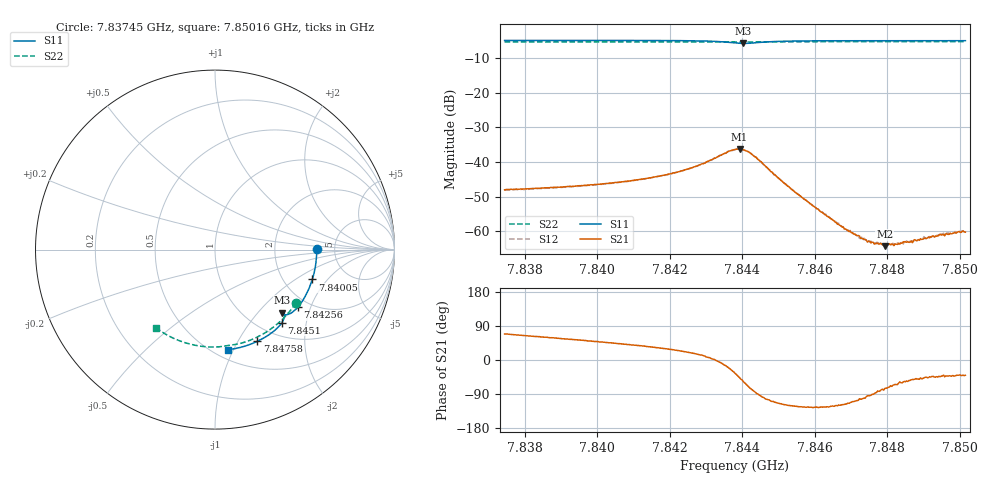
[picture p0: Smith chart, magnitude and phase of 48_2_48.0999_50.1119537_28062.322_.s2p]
#  HZ  S  RI  R  50.00
! Rohde & Schwarz Vector Network Analyzer
! Rohde-Schwarz,ZNB20-2Port,1311601062101988,3.16
! Created: UTC 12/23/2023, 3:39:28 AM
! freq[Hz]  re:S11  im:S11  re:S21  im:S21  re:S12  im:S12  re:S22  im:S22
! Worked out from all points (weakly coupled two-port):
!   401 points, 7.83745 GHz to 7.85016 GHz, reference 50 ohm
!   highest |S21| = -36.21 dB at 7.84393 GHz (marker M1); lowest = -64.3 dB at 7.84793 GHz (marker M2)
!   lowest |S11| = -5.8 dB at 7.84402 GHz (marker M3), VSWR 3.11, Z = 71.7 - j68.4 ohm
!   |S11| at or under -10 dB: nowhere
!   |S22| runs from -5.4 to -5.3 dB; largest |S21 - S12| = 0.00031
!   S11 on the Smith chart (normalised r, x): 7.83745 GHz: 3.61, +0.06; 7.84005 GHz: 2.86, -1.40; 7.84256 GHz: 1.74, -1.63; 7.8451 GHz: 1.24, -1.46; 7.84758 GHz: 0.81, -1.21; 7.85016 GHz: 0.58, -0.95
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7.837447e9  0.5666 0.00526  0.00145 0.00371  0.00146 0.00365  0.4507 -0.2971
7.839576e9  0.5507 -0.1357  0.00282 0.00362  0.00278 0.00358  0.353 -0.4094
7.840052e9  0.5419 -0.1665  0.00321 0.00354  0.00316 0.00353  0.3271 -0.4306
7.841704e9  0.4968 -0.2704  0.0053 0.00331  0.00528 0.00333  0.2283 -0.4909
7.842562e9  0.4608 -0.3213  0.00765 0.00271  0.00761 0.00272  0.1723 -0.5134
7.843325e9  0.4134 -0.359  0.012 -0.000727  0.0119 -0.000568  0.1203 -0.5272
7.843801e9  0.3787 -0.3585  0.0124 -0.00868  0.0124 -0.0086  0.0883 -0.5318
7.843929e9  0.3752 -0.3539  0.0106 -0.0112  0.0105 -0.0112  0.0802 -0.533
7.844024e9  0.3756 -0.3507  0.00842 -0.0125  0.00856 -0.0124  0.0743 -0.5338
7.844183e9  0.3802 -0.35  0.00447 -0.0132  0.0046 -0.0131  0.0645 -0.5357
7.84431e9  0.3842 -0.354  0.00185 -0.0122  0.00189 -0.0125  0.0561 -0.5372
7.845104e9  0.3727 -0.4072  -0.00235 -0.00472  -0.00233 -0.00476  0.000852 -0.5428
7.84593e9  0.3315 -0.4513  -0.00137 -0.00194  -0.00137 -0.002  -0.0575 -0.5407
7.846883e9  0.2772 -0.4892  -0.00046 -0.000953  -0.000425 -0.000935  -0.1237 -0.5302
7.847296e9  0.2525 -0.5028  -0.000183 -0.000769  -0.000151 -0.000811  -0.1519 -0.5231
7.847582e9  0.2352 -0.5113  -5.86e-06 -0.0007  -2.81e-07 -0.000683  -0.171 -0.5174
7.847932e9  0.2137 -0.521  0.000156 -0.000592  0.000136 -0.000623  -0.1944 -0.5093
7.848059e9  0.2058 -0.5241  0.00021 -0.000629  0.000204 -0.000634  -0.2027 -0.5061
7.848218e9  0.1958 -0.5278  0.000286 -0.000596  0.000265 -0.000601  -0.213 -0.5019
7.848853e9  0.1554 -0.5412  0.000488 -0.000584  0.000482 -0.000583  -0.2534 -0.4831
7.849489e9  0.1142 -0.5511  0.00065 -0.000598  0.000651 -0.000645  -0.2921 -0.4613
7.850156e9  0.0703 -0.5582  0.000744 -0.00063  0.000811 -0.00068  -0.3307 -0.4347
